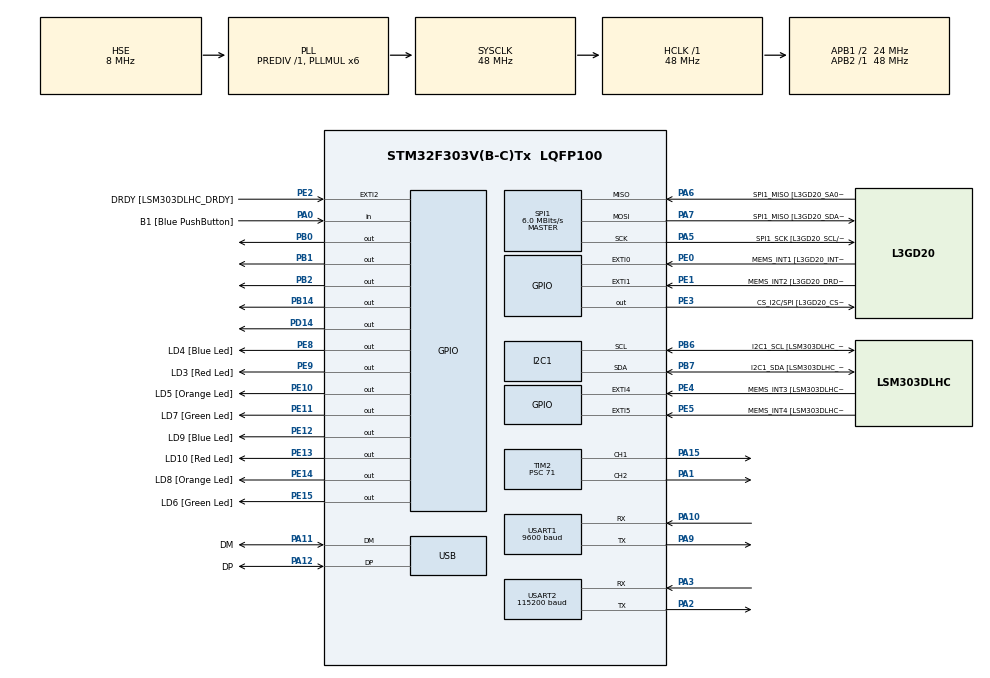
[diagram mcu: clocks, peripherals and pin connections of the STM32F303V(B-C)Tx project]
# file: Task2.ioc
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I2C1.Timing=0x2000090E
I2C1.Timing-I2C=0x2000090E
Mcu.Family=STM32F3
Mcu.Name=STM32F303V(B-C)Tx
Mcu.Package=LQFP100
NVIC.PriorityGroup=NVIC_PRIORITYGROUP_0
NVIC.TIM2_IRQn=true\:0\:0\:false\:false\:true\:true\:true\:true
NVIC.TIM6_DAC_IRQn=true\:0\:0\:false\:false\:true\:true\:true\:true
NVIC.USART1_IRQn=true\:0\:0\:false\:false\:true\:true\:true\:true
NVIC.USB_LP_CAN_RX0_IRQn=true\:0\:0\:false\:false\:true\:false\:true\:true
PA0.GPIO_Label=B1 [Blue PushButton]
PA0.Signal=GPIO_Input
PA1.Signal=S_TIM2_CH2
PA10.Mode=Asynchronous
PA10.Signal=USART1_RX
PA11.GPIO_Label=DM
PA11.Mode=Device
PA11.Signal=USB_DM
PA12.GPIO_Label=DP
PA12.Mode=Device
PA12.Signal=USB_DP
PA13.GPIO_Label=SWDIO
PA13.Mode=Serial_Wire
PA13.Signal=SYS_JTMS-SWDIO
PA14.GPIO_Label=SWCLK
PA14.Mode=Serial_Wire
PA14.Signal=SYS_JTCK-SWCLK
PA15.Signal=S_TIM2_CH1_ETR
PA2.Mode=Asynchronous
PA2.Signal=USART2_TX
PA3.Mode=Asynchronous
PA3.Signal=USART2_RX
PA5.GPIO_Label=SPI1_SCK [L3GD20_SCL/SPC]
PA5.Mode=Full_Duplex_Master
PA5.Signal=SPI1_SCK
PA6.GPIO_Label=SPI1_MISO [L3GD20_SA0/SDO]
PA6.Mode=Full_Duplex_Master
PA6.Signal=SPI1_MISO
PA7.GPIO_Label=SPI1_MISO [L3GD20_SDA/SDI/SDO]
PA7.Mode=Full_Duplex_Master
PA7.Signal=SPI1_MOSI
PA9.Mode=Asynchronous
PA9.Signal=USART1_TX
PB0.Signal=GPIO_Output
PB1.Signal=GPIO_Output
PB14.Signal=GPIO_Output
PB2.Signal=GPIO_Output
PB3.GPIO_Label=SWO
PB3.Signal=SYS_JTDO-TRACESWO
PB6.GPIO_Label=I2C1_SCL [LSM303DLHC_SCL]
PB6.GPIO_Pu=GPIO_PULLUP
PB6.Mode=I2C
PB6.Signal=I2C1_SCL
PB7.GPIO_Label=I2C1_SDA [LSM303DLHC_SDA]
PB7.GPIO_Pu=GPIO_PULLUP
PB7.Mode=I2C
PB7.Signal=I2C1_SDA
PC14-OSC32_IN.GPIO_Label=OSC32_IN
PC14-OSC32_IN.Signal=RCC_OSC32_IN
PC15-OSC32_OUT.GPIO_Label=OSC32_OUT
PC15-OSC32_OUT.Signal=RCC_OSC32_OUT
PD14.Signal=GPIO_Output
PE0.GPIO_Label=MEMS_INT1 [L3GD20_INT1]
PE0.GPIO_ModeDefaultEXTI=GPIO_MODE_EVT_RISING
PE0.Signal=GPXTI0
PE1.GPIO_Label=MEMS_INT2 [L3GD20_DRDY/INT2]
PE1.GPIO_ModeDefaultEXTI=GPIO_MODE_EVT_RISING
PE1.Signal=GPXTI1
PE10.GPIO_Label=LD5 [Orange Led]
PE10.Signal=GPIO_Output
PE11.GPIO_Label=LD7 [Green Led]
PE11.Signal=GPIO_Output
PE12.GPIO_Label=LD9 [Blue Led]
PE12.Signal=GPIO_Output
PE13.GPIO_Label=LD10 [Red Led]
PE13.Signal=GPIO_Output
PE14.GPIO_Label=LD8 [Orange Led]
PE14.Signal=GPIO_Output
PE15.GPIO_Label=LD6 [Green Led]
PE15.Signal=GPIO_Output
PE2.GPIO_Label=DRDY [LSM303DLHC_DRDY]
PE2.GPIO_ModeDefaultEXTI=GPIO_MODE_EVT_RISING
PE2.Signal=GPXTI2
PE3.GPIO_Label=CS_I2C/SPI [L3GD20_CS_I2C/SPI]
PE3.Signal=GPIO_Output
PE4.GPIO_Label=MEMS_INT3 [LSM303DLHC_INT1]
PE4.GPIO_ModeDefaultEXTI=GPIO_MODE_EVT_RISING
PE4.Signal=GPXTI4
PE5.GPIO_Label=MEMS_INT4 [LSM303DLHC_INT2]
PE5.GPIO_ModeDefaultEXTI=GPIO_MODE_EVT_RISING
PE5.Signal=GPXTI5
PE8.GPIO_Label=LD4 [Blue Led]
PE8.Signal=GPIO_Output
PE9.GPIO_Label=LD3 [Red Led]
PE9.Signal=GPIO_Output
PF0-OSC_IN.GPIO_Label=OSC_IN
PF0-OSC_IN.Mode=HSE-External-Clock-Source
PF0-OSC_IN.Signal=RCC_OSC_IN
PF1-OSC_OUT.GPIO_Label=OSC_OUT
PF1-OSC_OUT.Signal=RCC_OSC_OUT
ProjectManager.HeapSize=0x200
ProjectManager.StackSize=0x400
ProjectManager.TargetToolchain=CMake
RCC.AHBFreq_Value=48000000
RCC.APB1CLKDivider=RCC_HCLK_DIV2
RCC.APB1Freq_Value=24000000
RCC.APB1TimFreq_Value=48000000
RCC.APB2Freq_Value=48000000
RCC.APB2TimFreq_Value=48000000
RCC.CortexFreq_Value=48000000
RCC.HCLKFreq_Value=48000000
RCC.HSE_VALUE=8000000
RCC.HSI_VALUE=8000000
RCC.LSE_VALUE=32768
RCC.PLLMUL=RCC_PLL_MUL6
RCC.SYSCLKFreq_VALUE=48000000
RCC.SYSCLKSourceVirtual=RCC_SYSCLKSOURCE_PLLCLK
RCC.USBFreq_Value=48000000
SH.S_TIM2_CH1_ETR.0=TIM2_CH1,PWM Generation1 CH1
SH.S_TIM2_CH2.0=TIM2_CH2,PWM Generation2 CH2
SPI1.BaudRatePrescaler=SPI_BAUDRATEPRESCALER_8
SPI1.BaudRatePrescaler-Full_Duplex_Master=SPI_BAUDRATEPRESCALER_2
SPI1.CLKPhase=SPI_PHASE_2EDGE
SPI1.CLKPolarity=SPI_POLARITY_HIGH
SPI1.CalculateBaudRate=6.0 MBits/s
SPI1.CalculateBaudRate-Full_Duplex_Master=24.0 MBits/s
SPI1.DataSize=SPI_DATASIZE_8BIT
SPI1.Direction=SPI_DIRECTION_2LINES
SPI1.Mode=SPI_MODE_MASTER
SPI1.Mode-Full_Duplex_Master=SPI_MODE_MASTER
SPI1.VirtualType=VM_MASTER
TIM2.Channel-PWM\ Generation1\ CH1=TIM_CHANNEL_1
TIM2.Channel-PWM\ Generation2\ CH2=TIM_CHANNEL_2
TIM2.Period=999
TIM2.Prescaler=71
TIM6.Period=4999
TIM6.Prescaler=47
USART1.BaudRate=9600
USART1.VirtualMode-Asynchronous=VM_ASYNC
USART2.BaudRate=115200
USART2.VirtualMode-Asynchronous=VM_ASYNC
USB_DEVICE.CLASS_NAME_FS=CDC
USB_DEVICE.VirtualMode=Cdc
USB_DEVICE.VirtualModeFS=Cdc_FS
VP_TIM6_VS_ClockSourceINT.Mode=Enable_Timer
VP_USB_DEVICE_VS_USB_DEVICE_CDC_FS.Mode=CDC_FS
board=STM32F3DISCOVERY

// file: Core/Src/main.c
/* USER CODE BEGIN Header */
/**
  ******************************************************************************
  * @file           : main.c
  * @brief          : Lab 11 Task 2 - PID Controlled Self-Balancing Robot
  *                   STM32F3Discovery + Keyestudio KS0193 Balance Shield
  *                   - L3GD20 Gyro (SPI1), LSM303DLHC Accel (I2C1)
  *                   - TB6612FNG Motor Driver via PWM + GPIO
  *                   - Timer ISR for fixed-rate control loop (200 Hz)
  *                   - UART debug output via USART2 (PA2=TX)
  *                   - Bluetooth control via USART1 (PA9=TX, PA10=RX)
  *
  *   FIXES APPLIED (from previous revisions):
  *   1. 200-sample gyro calibration for stable offsets
  *   2. Accelerometer calibration (zero-angle correction)
  *   3. Complementary filter subtracts accel offsets before atan2
  *   4. Auto-measured resting angle as SETPOINT
  *   5. Startup grace period before safety cutoff activates
  *
  *   NEW: Bluetooth remote control
  *   - Funduino Bluetooth Bee (HC-05/06 class, XBee form factor) on USART1
  *   - 'F' / 'f' -> lean forward briefly  (rolls forward "a bit")
  *   - 'B' / 'b' -> lean backward briefly (rolls backward "a bit")
  *   - 'S' / 's' -> stop (recenter setpoint immediately)
  *   - Commands auto-expire after BT_COMMAND_MS to prevent runaway
  *     if the phone disconnects mid-command.
  *   - Implementation: nudges SETPOINT by +/-BT_LEAN_DEGREES instead of
  *     directly driving motors. The PID then "catches" the deliberate
  *     lean by accelerating the wheels in that direction.
  ******************************************************************************
  */
/* USER CODE END Header */
#include "main.h"
#include "usb_device.h"

/* USER CODE BEGIN Includes */
#include <string.h>
#include <stdio.h>
#include <math.h>
/* USER CODE END Includes */

/* USER CODE BEGIN PTD */

typedef struct {
  float offset_x;
  float offset_y;
  float offset_z;
} Gyro_Data;

typedef struct {
  float offset_x;
  float offset_y;
  float offset_z;
} Accel_Data;

/* USER CODE END PTD */

/* USER CODE BEGIN PD */

// ---- LSM303DLHC Accelerometer (I2C1) ----
#define ACC_I2C_ADDR        0x32   // 7-bit 0x19 << 1
#define ACC_CTRL_REG1_A     0x20
#define ACC_CTRL_REG4_A     0x23
#define ACC_OUT_X_L_A       0x28

// ---- L3GD20 Gyroscope (SPI1) ----
#define GYRO_WHO_AM_I       0x0F
#define GYRO_CTRL_REG1      0x20
#define GYRO_CTRL_REG4      0x23
#define GYRO_OUT_X_L        0x28

#define GYRO_CALIB_SAMPLES  200
#define ACC_CALIB_SAMPLES   200

// Sensitivities
#define GYRO_SENSITIVITY    8.75f    // mdps/digit at 250 dps
#define ACC_SENSITIVITY     1.0f     // mg/digit at +/-2g (LSM303DLHC)

// Control loop
#define DT                  0.005f   // 5 ms = 200 Hz timer ISR
#define ALPHA               0.98f    // Complementary filter weight
#define RAD2DEG             57.2957795f

// ---- PID Gains ----
#define KP                  60.0f
#define KI                  0.2f
#define KD                  2.5f

// PID limits
#define PID_OUTPUT_MAX      999.0f   // matches PWM period
#define PID_OUTPUT_MIN     -999.0f
#define INTEGRAL_MAX        500.0f   // anti-windup clamp

// SETPOINT auto-measured at startup (robot's natural resting angle)
static float SETPOINT = 0.0f;

// Safety cutoff: once |tilt angle| reaches this value, motors are disabled
#define MOTOR_OFF_ANGLE_DEG 30.0f

// PWM period (must match TIM2 Period = 999)
#define PWM_PERIOD          999

// ---- Bluetooth control parameters ----
// BT_LEAN_DEGREES: How much to bias the setpoint per command.
//   2.0 deg = gentle, slow movement. Try 3.0-4.0 if it barely moves.
// BT_COMMAND_MS:   How long the lean lasts before auto-stop.
//   400 ms gives a short "scoot". Bigger = longer travel per tap.
#define BT_LEAN_DEGREES     2.0f
#define BT_COMMAND_MS       400

/* USER CODE END PD */

I2C_HandleTypeDef hi2c1;

SPI_HandleTypeDef hspi1;

TIM_HandleTypeDef htim2;
TIM_HandleTypeDef htim6;

UART_HandleTypeDef huart1;
UART_HandleTypeDef huart2;

/* USER CODE BEGIN PV */

// Shared variables between ISR and main loop
volatile float shared_angle = 0.0f;
volatile float shared_pid_output = 0.0f;
volatile uint8_t display_flag = 0;
volatile uint8_t shared_motor_cutoff = 0;
volatile float shared_gyroX = 0.0f;
volatile float shared_accX  = 0.0f;

// Calibration data
Gyro_Data  gyro_cal = {0.0f, 0.0f, 0.0f};
Accel_Data accel_cal = {0.0f, 0.0f, 0.0f};

// Motor cutoff
volatile uint8_t motor_cutoff_latched = 0;
#define STARTUP_GRACE_TICKS  200

// ---- Bluetooth state ----
volatile float setpoint_offset = 0.0f;    // added to SETPOINT each ISR tick
volatile uint32_t bt_command_expiry = 0;  // HAL_GetTick() when command auto-expires
volatile uint8_t bt_rx_byte = 0;                   // single-byte RX buffer for USART1

/* USER CODE END PV */

void SystemClock_Config(void);
static void MX_GPIO_Init(void);
static void MX_I2C1_Init(void);
static void MX_SPI1_Init(void);
static void MX_TIM2_Init(void);
static void MX_TIM6_Init(void);
static void MX_USART2_UART_Init(void);
static void MX_USART1_UART_Init(void);
/* USER CODE BEGIN PFP */
void UART_Print(const char *msg);
void BT_Print(const char *msg);
void Gyro_Init(void);
void Gyro_Calibration(Gyro_Data *data);
void Accel_Init(void);
void Accel_Calibration(Accel_Data *data);
void Gyro_ReadXYZ(float *gx, float *gy, float *gz);
void Accel_ReadXYZ(float *ax, float *ay, float *az);
uint8_t Gyro_ReadReg(uint8_t reg);
void Gyro_WriteReg(uint8_t reg, uint8_t val);
void Motor_SetSpeed(float pid_output);
float Measure_Resting_Angle(void);
/* USER CODE END PFP */

/* USER CODE BEGIN 0 */

// ==================== UART (debug, USART2) ====================
void UART_Print(const char *msg) {
  HAL_UART_Transmit(&huart2, (uint8_t *)msg, strlen(msg), HAL_MAX_DELAY);
}

// ==================== Bluetooth UART (USART1) ====================
// Optional helper to send strings out the Bluetooth link (phone-side telemetry)
void BT_Print(const char *msg) {
  HAL_UART_Transmit(&huart1, (uint8_t *)msg, strlen(msg), HAL_MAX_DELAY);
}

// Called by HAL whenever a UART completes a 1-byte interrupt-driven receive.
// We only care about USART1 (the Bluetooth module). USART2 RX is unused.
// Commands handled:
//   'F' -> lean forward briefly  (drive forward "a bit")
//   'B' -> lean backward briefly (drive backward "a bit")
//   'S' -> stop (recenter setpoint immediately)
// Lowercase variants are also accepted in case the phone app sends them.
void HAL_UART_RxCpltCallback(UART_HandleTypeDef *huart) {
  if (huart->Instance == USART1) {
    switch (bt_rx_byte) {
      case 'F': case 'f':
        setpoint_offset = +BT_LEAN_DEGREES;
        bt_command_expiry = HAL_GetTick() + BT_COMMAND_MS;
        break;
      case 'B': case 'b':
        setpoint_offset = -BT_LEAN_DEGREES;
        bt_command_expiry = HAL_GetTick() + BT_COMMAND_MS;
        break;
      case 'S': case 's':
        setpoint_offset = 0.0f;
        bt_command_expiry = 0;
        break;
      default:
        break;
    }
    // CRITICAL: Re-arm RX for the next byte. Without this, only ONE byte
    // is ever received and the robot stops responding after the first tap.
    HAL_UART_Receive_IT(&huart1, &bt_rx_byte, 1);
  }
}

// ==================== L3GD20 Gyro (SPI1) ====================
void Gyro_WriteReg(uint8_t reg, uint8_t val) {
  uint8_t txData[2] = { reg, val };
  HAL_GPIO_WritePin(CS_I2C_SPI_GPIO_Port, CS_I2C_SPI_Pin, GPIO_PIN_RESET);
  HAL_SPI_Transmit(&hspi1, txData, 2, HAL_MAX_DELAY);
  HAL_GPIO_WritePin(CS_I2C_SPI_GPIO_Port, CS_I2C_SPI_Pin, GPIO_PIN_SET);
}

uint8_t Gyro_ReadReg(uint8_t reg) {
  uint8_t txData = reg | 0x80;
  uint8_t rxData = 0;
  HAL_GPIO_WritePin(CS_I2C_SPI_GPIO_Port, CS_I2C_SPI_Pin, GPIO_PIN_RESET);
  HAL_SPI_Transmit(&hspi1, &txData, 1, HAL_MAX_DELAY);
  HAL_SPI_Receive(&hspi1, &rxData, 1, HAL_MAX_DELAY);
  HAL_GPIO_WritePin(CS_I2C_SPI_GPIO_Port, CS_I2C_SPI_Pin, GPIO_PIN_SET);
  return rxData;
}

void Gyro_Init(void) {
  HAL_GPIO_WritePin(CS_I2C_SPI_GPIO_Port, CS_I2C_SPI_Pin, GPIO_PIN_SET);
  HAL_Delay(10);
  Gyro_WriteReg(GYRO_CTRL_REG1, 0x6F);
  Gyro_WriteReg(GYRO_CTRL_REG4, 0x80);
}

static void Gyro_ReadRawXYZ(float *gx, float *gy, float *gz) {
  uint8_t txAddr = GYRO_OUT_X_L | 0x80 | 0x40;
  uint8_t buf[6];

  HAL_GPIO_WritePin(CS_I2C_SPI_GPIO_Port, CS_I2C_SPI_Pin, GPIO_PIN_RESET);
  HAL_SPI_Transmit(&hspi1, &txAddr, 1, HAL_MAX_DELAY);
  HAL_SPI_Receive(&hspi1, buf, 6, HAL_MAX_DELAY);
  HAL_GPIO_WritePin(CS_I2C_SPI_GPIO_Port, CS_I2C_SPI_Pin, GPIO_PIN_SET);

  int16_t raw_x = (int16_t)(buf[1] << 8 | buf[0]);
  int16_t raw_y = (int16_t)(buf[3] << 8 | buf[2]);
  int16_t raw_z = (int16_t)(buf[5] << 8 | buf[4]);

  *gx = raw_x * GYRO_SENSITIVITY * 0.001f;
  *gy = raw_y * GYRO_SENSITIVITY * 0.001f;
  *gz = raw_z * GYRO_SENSITIVITY * 0.001f;
}

void Gyro_Calibration(Gyro_Data *data) {
  float sum_x = 0.0f, sum_y = 0.0f, sum_z = 0.0f;
  float gx, gy, gz;

  UART_Print("Calibrating gyro (keep robot STILL)...\r\n");

  for (int i = 0; i < GYRO_CALIB_SAMPLES; i++) {
    Gyro_ReadRawXYZ(&gx, &gy, &gz);
    sum_x += gx;
    sum_y += gy;
    sum_z += gz;
    HAL_Delay(2);
  }

  data->offset_x = sum_x / (float)GYRO_CALIB_SAMPLES;
  data->offset_y = sum_y / (float)GYRO_CALIB_SAMPLES;
  data->offset_z = sum_z / (float)GYRO_CALIB_SAMPLES;
}

void Gyro_ReadXYZ(float *gx, float *gy, float *gz) {
  float raw_gx, raw_gy, raw_gz;
  Gyro_ReadRawXYZ(&raw_gx, &raw_gy, &raw_gz);

  *gx = raw_gx - gyro_cal.offset_x;
  *gy = raw_gy - gyro_cal.offset_y;
  *gz = raw_gz - gyro_cal.offset_z;
}

// ==================== LSM303DLHC Accel (I2C) ====================
void Accel_Init(void) {
  uint8_t data;
  data = 0x57;
  HAL_I2C_Mem_Write(&hi2c1, ACC_I2C_ADDR, ACC_CTRL_REG1_A,
                    I2C_MEMADD_SIZE_8BIT, &data, 1, HAL_MAX_DELAY);
  data = 0x88;
  HAL_I2C_Mem_Write(&hi2c1, ACC_I2C_ADDR, ACC_CTRL_REG4_A,
                    I2C_MEMADD_SIZE_8BIT, &data, 1, HAL_MAX_DELAY);
}

void Accel_ReadXYZ(float *ax, float *ay, float *az) {
  uint8_t buf[6];
  HAL_I2C_Mem_Read(&hi2c1, ACC_I2C_ADDR, ACC_OUT_X_L_A | 0x80,
                   I2C_MEMADD_SIZE_8BIT, buf, 6, HAL_MAX_DELAY);

  int16_t raw_x = (int16_t)(buf[1] << 8 | buf[0]) >> 4;
  int16_t raw_y = (int16_t)(buf[3] << 8 | buf[2]) >> 4;
  int16_t raw_z = (int16_t)(buf[5] << 8 | buf[4]) >> 4;

  *ax = raw_x * ACC_SENSITIVITY;
  *ay = raw_y * ACC_SENSITIVITY;
  *az = raw_z * ACC_SENSITIVITY;
}

void Accel_Calibration(Accel_Data *data) {
  float sum_x = 0.0f, sum_y = 0.0f, sum_z = 0.0f;
  float ax, ay, az;

  UART_Print("Calibrating accel (keep robot UPRIGHT and STILL)...\r\n");

  for (int i = 0; i < ACC_CALIB_SAMPLES; i++) {
    Accel_ReadXYZ(&ax, &ay, &az);
    sum_x += ax;
    sum_y += ay;
    sum_z += az;
    HAL_Delay(2);
  }

  data->offset_x = sum_x / (float)ACC_CALIB_SAMPLES;
  data->offset_y = sum_y / (float)ACC_CALIB_SAMPLES;
  data->offset_z = (sum_z / (float)ACC_CALIB_SAMPLES) - 1000.0f;
}

float Measure_Resting_Angle(void) {
  float angle = 0.0f;
  float sum = 0.0f;
  int samples = 100;

  for (int i = 0; i < 50; i++) {
    float gx, gy, gz, ax, ay, az;
    Gyro_ReadXYZ(&gx, &gy, &gz);
    Accel_ReadXYZ(&ax, &ay, &az);

    ax -= accel_cal.offset_x;
    az -= accel_cal.offset_z;

    float acc_angle = atan2f(ax, az) * RAD2DEG;
    angle = ALPHA * (angle + gy * 0.005f) + (1.0f - ALPHA) * acc_angle;
    HAL_Delay(5);
  }

  for (int i = 0; i < samples; i++) {
    float gx, gy, gz, ax, ay, az;
    Gyro_ReadXYZ(&gx, &gy, &gz);
    Accel_ReadXYZ(&ax, &ay, &az);

    ax -= accel_cal.offset_x;
    az -= accel_cal.offset_z;

    float acc_angle = atan2f(ax, az) * RAD2DEG;
    angle = ALPHA * (angle + gy * 0.005f) + (1.0f - ALPHA) * acc_angle;
    sum += angle;
    HAL_Delay(5);
  }

  return sum / (float)samples;
}

// ==================== Motor Control ====================
void Motor_SetSpeed(float pid_output) {
  if (pid_output > PWM_PERIOD) pid_output = PWM_PERIOD;
  if (pid_output < -PWM_PERIOD) pid_output = -PWM_PERIOD;

  uint32_t pwm_val = (uint32_t)fabsf(pid_output);

  if (pid_output >= 0) {
    HAL_GPIO_WritePin(GPIOB, GPIO_PIN_0, GPIO_PIN_SET);
    HAL_GPIO_WritePin(GPIOB, GPIO_PIN_1, GPIO_PIN_RESET);
    HAL_GPIO_WritePin(GPIOB, GPIO_PIN_2, GPIO_PIN_SET);
    HAL_GPIO_WritePin(GPIOB, GPIO_PIN_14, GPIO_PIN_RESET);
  } else {
    HAL_GPIO_WritePin(GPIOB, GPIO_PIN_0, GPIO_PIN_RESET);
    HAL_GPIO_WritePin(GPIOB, GPIO_PIN_1, GPIO_PIN_SET);
    HAL_GPIO_WritePin(GPIOB, GPIO_PIN_2, GPIO_PIN_RESET);
    HAL_GPIO_WritePin(GPIOB, GPIO_PIN_14, GPIO_PIN_SET);
  }

  __HAL_TIM_SET_COMPARE(&htim2, TIM_CHANNEL_1, pwm_val);
  __HAL_TIM_SET_COMPARE(&htim2, TIM_CHANNEL_2, pwm_val);
}

// ==================== Timer ISR (200 Hz) ====================
void HAL_TIM_PeriodElapsedCallback(TIM_HandleTypeDef *htim) {
  if (htim->Instance == TIM6) {
    static float tilt_angle = 0.0f;
    static float integral = 0.0f;
    static float prev_error = 0.0f;
    static int counter = 0;
    static uint32_t startup_ticks = 0;
    static uint8_t filter_seeded = 0;

    // ---- Read sensors ----
    float gx, gy, gz;
    float ax, ay, az;
    Gyro_ReadXYZ(&gx, &gy, &gz);
    Accel_ReadXYZ(&ax, &ay, &az);

    ax -= accel_cal.offset_x;
    az -= accel_cal.offset_z;

    // ---- Complementary filter ----
    float acc_angle = atan2f(ax, az) * RAD2DEG;

    if (!filter_seeded) {
      tilt_angle = acc_angle;
      filter_seeded = 1;
    } else {
      tilt_angle = ALPHA * (tilt_angle + gy * DT) + (1.0f - ALPHA) * acc_angle;
    }

    // ---- Grace period & safety cutoff ----
    if (startup_ticks < STARTUP_GRACE_TICKS) {
      startup_ticks++;
    } else {
      if (!motor_cutoff_latched && (fabsf(tilt_angle) >= MOTOR_OFF_ANGLE_DEG)) {
        motor_cutoff_latched = 1;
      }
    }

    if (motor_cutoff_latched) {
      Motor_SetSpeed(0.0f);
      integral = 0.0f;
      prev_error = 0.0f;

      // Clear any pending BT command so it doesn't restart motion on recovery
      setpoint_offset = 0.0f;
      bt_command_expiry = 0;

      shared_angle      = tilt_angle;
      shared_gyroX      = gy;
      shared_accX       = ax;
      shared_pid_output = 0.0f;
      shared_motor_cutoff = 1;

      counter++;
      if (counter >= 20) {
        display_flag = 1;
        counter = 0;
      }
      return;
    }

    // ---- Bluetooth: auto-expire lean commands ----
    // If a phone command was issued but BT_COMMAND_MS elapsed, recenter.
    // This prevents runaway if the phone disconnects mid-command.
    if (bt_command_expiry != 0 && (HAL_GetTick() - bt_command_expiry) < 0x80000000U)
    {
    setpoint_offset = 0.0f;
    bt_command_expiry = 0;
    }

    // ---- PID Controller ----
    // Note: SETPOINT is the natural resting angle. setpoint_offset shifts it
    // forward/backward briefly to make the robot lean and roll in that direction.
    float effective_setpoint = SETPOINT + setpoint_offset;
    float error = effective_setpoint - tilt_angle;

    float p_term = KP * error;

    integral += error * DT;
    if (integral > INTEGRAL_MAX) integral = INTEGRAL_MAX;
    if (integral < -INTEGRAL_MAX) integral = -INTEGRAL_MAX;
    float i_term = KI * integral;

    float derivative = (error - prev_error) / DT;
    float d_term = KD * derivative;
    prev_error = error;

    float output = p_term + i_term + d_term;

    if (output > PID_OUTPUT_MAX) output = PID_OUTPUT_MAX;
    if (output < PID_OUTPUT_MIN) output = PID_OUTPUT_MIN;

    Motor_SetSpeed(output);

    shared_angle      = tilt_angle;
    shared_gyroX      = gy;          // ADD
    shared_accX       = ax;          // ADD
    shared_pid_output = output;
    shared_motor_cutoff = 0;

    counter++;
    if (counter >= 20) {
      display_flag = 1;
      counter = 0;
    }
  }
}

/* USER CODE END 0 */

int main(void)
{

  /* MCU Configuration--------------------------------------------------------*/

  /* Reset of all peripherals, Initializes the Flash interface and the Systick. */
  HAL_Init();

  /* Configure the system clock */
  SystemClock_Config();

  /* Initialize all configured peripherals */
  MX_GPIO_Init();
  MX_I2C1_Init();
  MX_SPI1_Init();
  MX_TIM2_Init();
  MX_TIM6_Init();
  MX_USART2_UART_Init();
  MX_USB_DEVICE_Init();
  MX_USART1_UART_Init();
  /* USER CODE BEGIN 2 */

  HAL_Delay(100);

  // ---- Initialize sensors ----
  Gyro_Init();
  Accel_Init();
  HAL_Delay(100);

  char msg[128];

  uint8_t who = Gyro_ReadReg(GYRO_WHO_AM_I);
  snprintf(msg, sizeof(msg), "Gyro WHO_AM_I: 0x%02X (expect 0xD4 or 0xD7)\r\n", who);
  UART_Print(msg);

  uint8_t acc_who = 0;
  HAL_I2C_Mem_Read(&hi2c1, ACC_I2C_ADDR, 0x0F,
                   I2C_MEMADD_SIZE_8BIT, &acc_who, 1, HAL_MAX_DELAY);
  snprintf(msg, sizeof(msg), "Accel WHO_AM_I: 0x%02X (expect 0x33)\r\n", acc_who);
  UART_Print(msg);

  // ---- Calibrate ----
  UART_Print("=== CALIBRATION: Hold robot UPRIGHT and STILL ===\r\n");
  HAL_Delay(1000);

  Gyro_Calibration(&gyro_cal);
  snprintf(msg, sizeof(msg), "Gyro offsets (x1000 dps): X=%d Y=%d Z=%d\r\n",
           (int)(gyro_cal.offset_x * 1000),
           (int)(gyro_cal.offset_y * 1000),
           (int)(gyro_cal.offset_z * 1000));
  UART_Print(msg);

  Accel_Calibration(&accel_cal);
  snprintf(msg, sizeof(msg), "Accel offsets (mg): X=%d Y=%d Z_dev=%d\r\n",
           (int)(accel_cal.offset_x),
           (int)(accel_cal.offset_y),
           (int)(accel_cal.offset_z));
  UART_Print(msg);

  UART_Print("Measuring resting angle...\r\n");
  SETPOINT = Measure_Resting_Angle();
  snprintf(msg, sizeof(msg), "Auto SETPOINT: %d (x100=%d)\r\n",
           (int)SETPOINT, (int)(SETPOINT * 100));
  UART_Print(msg);

  snprintf(msg, sizeof(msg), "PID: Kp=%d Ki_x10=%d Kd_x10=%d\r\n",
           (int)KP, (int)(KI * 10), (int)(KD * 10));
  UART_Print(msg);

  HAL_Delay(500);

  // ---- Start PWM channels ----
  HAL_TIM_PWM_Start(&htim2, TIM_CHANNEL_1);
  HAL_TIM_PWM_Start(&htim2, TIM_CHANNEL_2);
  __HAL_TIM_SET_COMPARE(&htim2, TIM_CHANNEL_1, 0);
  __HAL_TIM_SET_COMPARE(&htim2, TIM_CHANNEL_2, 0);

  // ---- Start 200 Hz control loop ----
  HAL_TIM_Base_Start_IT(&htim6);

  UART_Print("Control loop started at 200 Hz\r\n");
  UART_Print("Format: angle,pid_output,cutoff,bt_offset\r\n");

  // ---- Arm Bluetooth RX (interrupt-driven, 1 byte at a time) ----
  // Without this, the RxCpltCallback never fires and BT does nothing.
  HAL_UART_Receive_IT(&huart1, &bt_rx_byte, 1);
  UART_Print("Bluetooth RX armed on USART1 @ 9600 (F/B/S commands)\r\n");

  /* USER CODE END 2 */

  /* Infinite loop */
  while (1)
  {

    /* USER CODE BEGIN 3 */
    if (display_flag == 1) {
    display_flag = 0;
    float angle  = shared_angle;
    float pid    = shared_pid_output;
    float gx_val = shared_gyroX;
    float ax_val = shared_accX;
    uint8_t cutoff = shared_motor_cutoff;

    // Encode floats as integers to avoid float-printf dependency
    int angle_int  = (int)angle;
    int angle_frac = (int)(fabsf(angle - (float)angle_int) * 10);
    int gyro_x100  = (int)(gx_val * 100.0f);  // dps × 100  (2 decimal places)
    int acc_int    = (int)(ax_val);            // mg (integer precision is fine)
    int pid_int    = (int)pid;

    // Format: angle, gyroX_x100, accX, pid, cutoff
    snprintf(msg, sizeof(msg), "%d.%d,%d,%d,%d,%u\r\n",
             angle_int, angle_frac, gyro_x100, acc_int, pid_int, cutoff);
    UART_Print(msg);
}
  }
  /* USER CODE END 3 */
}

void SystemClock_Config(void)
{
  RCC_OscInitTypeDef RCC_OscInitStruct = {0};
  RCC_ClkInitTypeDef RCC_ClkInitStruct = {0};
  RCC_PeriphCLKInitTypeDef PeriphClkInit = {0};

  /** Initializes the RCC Oscillators according to the specified parameters
  * in the RCC_OscInitTypeDef structure.
  */
  RCC_OscInitStruct.OscillatorType = RCC_OSCILLATORTYPE_HSI|RCC_OSCILLATORTYPE_HSE;
  RCC_OscInitStruct.HSEState = RCC_HSE_BYPASS;
  RCC_OscInitStruct.HSEPredivValue = RCC_HSE_PREDIV_DIV1;
  RCC_OscInitStruct.HSIState = RCC_HSI_ON;
  RCC_OscInitStruct.HSICalibrationValue = RCC_HSICALIBRATION_DEFAULT;
  RCC_OscInitStruct.PLL.PLLState = RCC_PLL_ON;
  RCC_OscInitStruct.PLL.PLLSource = RCC_PLLSOURCE_HSE;
  RCC_OscInitStruct.PLL.PLLMUL = RCC_PLL_MUL6;
  if (HAL_RCC_OscConfig(&RCC_OscInitStruct) != HAL_OK)
  {
    Error_Handler();
  }

  /** Initializes the CPU, AHB and APB buses clocks
  */
  RCC_ClkInitStruct.ClockType = RCC_CLOCKTYPE_HCLK|RCC_CLOCKTYPE_SYSCLK
                              |RCC_CLOCKTYPE_PCLK1|RCC_CLOCKTYPE_PCLK2;
  RCC_ClkInitStruct.SYSCLKSource = RCC_SYSCLKSOURCE_PLLCLK;
  RCC_ClkInitStruct.AHBCLKDivider = RCC_SYSCLK_DIV1;
  RCC_ClkInitStruct.APB1CLKDivider = RCC_HCLK_DIV2;
  RCC_ClkInitStruct.APB2CLKDivider = RCC_HCLK_DIV1;

  if (HAL_RCC_ClockConfig(&RCC_ClkInitStruct, FLASH_LATENCY_1) != HAL_OK)
  {
    Error_Handler();
  }
  PeriphClkInit.PeriphClockSelection = RCC_PERIPHCLK_USB|RCC_PERIPHCLK_USART1
                              |RCC_PERIPHCLK_USART2|RCC_PERIPHCLK_I2C1;
  PeriphClkInit.Usart1ClockSelection = RCC_USART1CLKSOURCE_PCLK2;
  PeriphClkInit.Usart2ClockSelection = RCC_USART2CLKSOURCE_PCLK1;
  PeriphClkInit.I2c1ClockSelection = RCC_I2C1CLKSOURCE_HSI;
  PeriphClkInit.USBClockSelection = RCC_USBCLKSOURCE_PLL;
  if (HAL_RCCEx_PeriphCLKConfig(&PeriphClkInit) != HAL_OK)
  {
    Error_Handler();
  }
}

static void MX_I2C1_Init(void)
{

  hi2c1.Instance = I2C1;
  hi2c1.Init.Timing = 0x2000090E;
  hi2c1.Init.OwnAddress1 = 0;
  hi2c1.Init.AddressingMode = I2C_ADDRESSINGMODE_7BIT;
  hi2c1.Init.DualAddressMode = I2C_DUALADDRESS_DISABLE;
  hi2c1.Init.OwnAddress2 = 0;
  hi2c1.Init.OwnAddress2Masks = I2C_OA2_NOMASK;
  hi2c1.Init.GeneralCallMode = I2C_GENERALCALL_DISABLE;
  hi2c1.Init.NoStretchMode = I2C_NOSTRETCH_DISABLE;
  if (HAL_I2C_Init(&hi2c1) != HAL_OK)
  {
    Error_Handler();
  }

  /** Configure Analogue filter
  */
  if (HAL_I2CEx_ConfigAnalogFilter(&hi2c1, I2C_ANALOGFILTER_ENABLE) != HAL_OK)
  {
    Error_Handler();
  }

  /** Configure Digital filter
  */
  if (HAL_I2CEx_ConfigDigitalFilter(&hi2c1, 0) != HAL_OK)
  {
    Error_Handler();
  }

}

static void MX_SPI1_Init(void)
{

  /* SPI1 parameter configuration*/
  hspi1.Instance = SPI1;
  hspi1.Init.Mode = SPI_MODE_MASTER;
  hspi1.Init.Direction = SPI_DIRECTION_2LINES;
  hspi1.Init.DataSize = SPI_DATASIZE_8BIT;
  hspi1.Init.CLKPolarity = SPI_POLARITY_HIGH;
  hspi1.Init.CLKPhase = SPI_PHASE_2EDGE;
  hspi1.Init.NSS = SPI_NSS_SOFT;
  hspi1.Init.BaudRatePrescaler = SPI_BAUDRATEPRESCALER_8;
  hspi1.Init.FirstBit = SPI_FIRSTBIT_MSB;
  hspi1.Init.TIMode = SPI_TIMODE_DISABLE;
  hspi1.Init.CRCCalculation = SPI_CRCCALCULATION_DISABLE;
  hspi1.Init.CRCPolynomial = 7;
  hspi1.Init.CRCLength = SPI_CRC_LENGTH_DATASIZE;
  hspi1.Init.NSSPMode = SPI_NSS_PULSE_DISABLE;
  if (HAL_SPI_Init(&hspi1) != HAL_OK)
  {
    Error_Handler();
  }

}

static void MX_TIM2_Init(void)
{

  TIM_MasterConfigTypeDef sMasterConfig = {0};
  TIM_OC_InitTypeDef sConfigOC = {0};

  htim2.Instance = TIM2;
  htim2.Init.Prescaler = 71;
  htim2.Init.CounterMode = TIM_COUNTERMODE_UP;
  htim2.Init.Period = 999;
  htim2.Init.ClockDivision = TIM_CLOCKDIVISION_DIV1;
  htim2.Init.AutoReloadPreload = TIM_AUTORELOAD_PRELOAD_DISABLE;
  if (HAL_TIM_PWM_Init(&htim2) != HAL_OK)
  {
    Error_Handler();
  }
  sMasterConfig.MasterOutputTrigger = TIM_TRGO_RESET;
  sMasterConfig.MasterSlaveMode = TIM_MASTERSLAVEMODE_DISABLE;
  if (HAL_TIMEx_MasterConfigSynchronization(&htim2, &sMasterConfig) != HAL_OK)
  {
    Error_Handler();
  }
  sConfigOC.OCMode = TIM_OCMODE_PWM1;
  sConfigOC.Pulse = 0;
  sConfigOC.OCPolarity = TIM_OCPOLARITY_HIGH;
  sConfigOC.OCFastMode = TIM_OCFAST_DISABLE;
  if (HAL_TIM_PWM_ConfigChannel(&htim2, &sConfigOC, TIM_CHANNEL_1) != HAL_OK)
  {
    Error_Handler();
  }
  if (HAL_TIM_PWM_ConfigChannel(&htim2, &sConfigOC, TIM_CHANNEL_2) != HAL_OK)
  {
    Error_Handler();
  }
  HAL_TIM_MspPostInit(&htim2);

}

static void MX_TIM6_Init(void)
{

  TIM_MasterConfigTypeDef sMasterConfig = {0};

  htim6.Instance = TIM6;
  htim6.Init.Prescaler = 47;
  htim6.Init.CounterMode = TIM_COUNTERMODE_UP;
  htim6.Init.Period = 4999;
  htim6.Init.AutoReloadPreload = TIM_AUTORELOAD_PRELOAD_DISABLE;
  if (HAL_TIM_Base_Init(&htim6) != HAL_OK)
  {
    Error_Handler();
  }
  sMasterConfig.MasterOutputTrigger = TIM_TRGO_RESET;
  sMasterConfig.MasterSlaveMode = TIM_MASTERSLAVEMODE_DISABLE;
  if (HAL_TIMEx_MasterConfigSynchronization(&htim6, &sMasterConfig) != HAL_OK)
  {
    Error_Handler();
  }

}

static void MX_USART1_UART_Init(void)
{

  huart1.Instance = USART1;
  huart1.Init.BaudRate = 9600;
  huart1.Init.WordLength = UART_WORDLENGTH_8B;
  huart1.Init.StopBits = UART_STOPBITS_1;
  huart1.Init.Parity = UART_PARITY_NONE;
  huart1.Init.Mode = UART_MODE_TX_RX;
  huart1.Init.HwFlowCtl = UART_HWCONTROL_NONE;
  huart1.Init.OverSampling = UART_OVERSAMPLING_16;
  huart1.Init.OneBitSampling = UART_ONE_BIT_SAMPLE_DISABLE;
  huart1.AdvancedInit.AdvFeatureInit = UART_ADVFEATURE_NO_INIT;
  if (HAL_UART_Init(&huart1) != HAL_OK)
  {
    Error_Handler();
  }

}

static void MX_USART2_UART_Init(void)
{

  huart2.Instance = USART2;
  huart2.Init.BaudRate = 115200;
  huart2.Init.WordLength = UART_WORDLENGTH_8B;
  huart2.Init.StopBits = UART_STOPBITS_1;
  huart2.Init.Parity = UART_PARITY_NONE;
  huart2.Init.Mode = UART_MODE_TX_RX;
  huart2.Init.HwFlowCtl = UART_HWCONTROL_NONE;
  huart2.Init.OverSampling = UART_OVERSAMPLING_16;
  huart2.Init.OneBitSampling = UART_ONE_BIT_SAMPLE_DISABLE;
  huart2.AdvancedInit.AdvFeatureInit = UART_ADVFEATURE_NO_INIT;
  if (HAL_UART_Init(&huart2) != HAL_OK)
  {
    Error_Handler();
  }

}

static void MX_GPIO_Init(void)
{
  GPIO_InitTypeDef GPIO_InitStruct = {0};

  /* GPIO Ports Clock Enable */
  __HAL_RCC_GPIOE_CLK_ENABLE();
  __HAL_RCC_GPIOC_CLK_ENABLE();
  __HAL_RCC_GPIOF_CLK_ENABLE();
  __HAL_RCC_GPIOA_CLK_ENABLE();
  __HAL_RCC_GPIOB_CLK_ENABLE();
  __HAL_RCC_GPIOD_CLK_ENABLE();

  /*Configure GPIO pin Output Level */
  HAL_GPIO_WritePin(GPIOE, CS_I2C_SPI_Pin|LD4_Pin|LD3_Pin|LD5_Pin
                          |LD7_Pin|LD9_Pin|LD10_Pin|LD8_Pin
                          |LD6_Pin, GPIO_PIN_RESET);

  /*Configure GPIO pin Output Level */
  HAL_GPIO_WritePin(GPIOB, GPIO_PIN_0|GPIO_PIN_1|GPIO_PIN_2|GPIO_PIN_14, GPIO_PIN_RESET);

  /*Configure GPIO pin Output Level */
  HAL_GPIO_WritePin(GPIOD, GPIO_PIN_14, GPIO_PIN_RESET);

  /*Configure GPIO pins : DRDY_Pin MEMS_INT3_Pin MEMS_INT4_Pin MEMS_INT1_Pin
                           MEMS_INT2_Pin */
  GPIO_InitStruct.Pin = DRDY_Pin|MEMS_INT3_Pin|MEMS_INT4_Pin|MEMS_INT1_Pin
                          |MEMS_INT2_Pin;
  GPIO_InitStruct.Mode = GPIO_MODE_EVT_RISING;
  GPIO_InitStruct.Pull = GPIO_NOPULL;
  HAL_GPIO_Init(GPIOE, &GPIO_InitStruct);

  /*Configure GPIO pins : CS_I2C_SPI_Pin LD4_Pin LD3_Pin LD5_Pin
                           LD7_Pin LD9_Pin LD10_Pin LD8_Pin
                           LD6_Pin */
  GPIO_InitStruct.Pin = CS_I2C_SPI_Pin|LD4_Pin|LD3_Pin|LD5_Pin
                          |LD7_Pin|LD9_Pin|LD10_Pin|LD8_Pin
                          |LD6_Pin;
  GPIO_InitStruct.Mode = GPIO_MODE_OUTPUT_PP;
  GPIO_InitStruct.Pull = GPIO_NOPULL;
  GPIO_InitStruct.Speed = GPIO_SPEED_FREQ_LOW;
  HAL_GPIO_Init(GPIOE, &GPIO_InitStruct);

  /*Configure GPIO pin : B1_Pin */
  GPIO_InitStruct.Pin = B1_Pin;
  GPIO_InitStruct.Mode = GPIO_MODE_INPUT;
  GPIO_InitStruct.Pull = GPIO_NOPULL;
  HAL_GPIO_Init(B1_GPIO_Port, &GPIO_InitStruct);

  /*Configure GPIO pins : PB0 PB1 PB2 PB14 */
  GPIO_InitStruct.Pin = GPIO_PIN_0|GPIO_PIN_1|GPIO_PIN_2|GPIO_PIN_14;
  GPIO_InitStruct.Mode = GPIO_MODE_OUTPUT_PP;
  GPIO_InitStruct.Pull = GPIO_NOPULL;
  GPIO_InitStruct.Speed = GPIO_SPEED_FREQ_LOW;
  HAL_GPIO_Init(GPIOB, &GPIO_InitStruct);

  /*Configure GPIO pin : PD14 */
  GPIO_InitStruct.Pin = GPIO_PIN_14;
  GPIO_InitStruct.Mode = GPIO_MODE_OUTPUT_PP;
  GPIO_InitStruct.Pull = GPIO_NOPULL;
  GPIO_InitStruct.Speed = GPIO_SPEED_FREQ_LOW;
  HAL_GPIO_Init(GPIOD, &GPIO_InitStruct);

}

void Error_Handler(void)
{
  __disable_irq();
  while (1)
  {
  }
}
